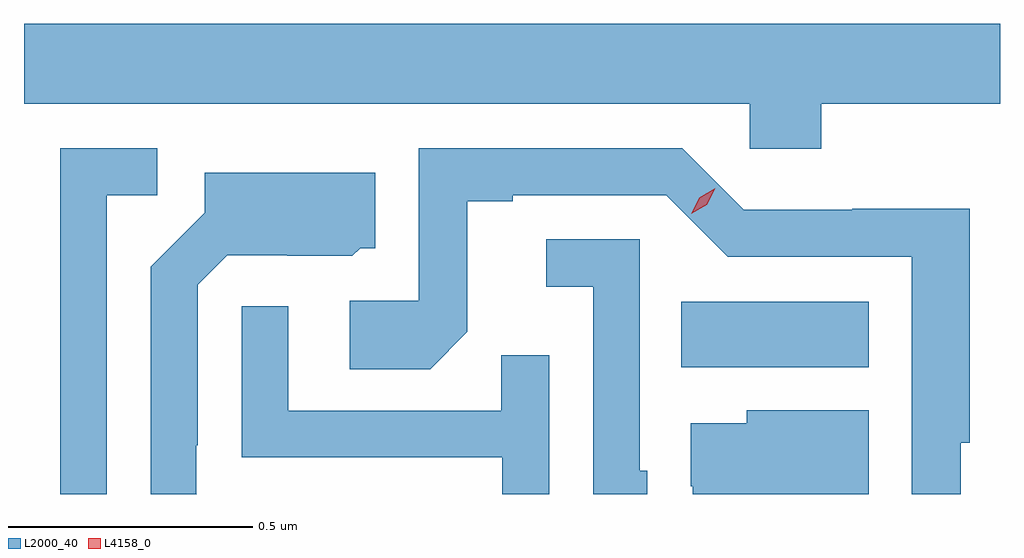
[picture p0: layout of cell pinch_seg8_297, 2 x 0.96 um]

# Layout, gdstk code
import gdstk
lib = gdstk.Library(unit=1e-6, precision=1e-09)
def R(c, l, rs):  # rectangles x0, y0, x1, y1
    for r in rs: c.add(gdstk.rectangle(r[:2], r[2:], *l))
def P(c, l, *ps):  # polygons
    for p in ps: c.add(gdstk.Polygon(p, *l))
L2000_40 = (2000, 40)
L4158_0 = (4158, 0)

pinch_seg8_297 = lib.new_cell('pinch_seg8_297')
R(pinch_seg8_297, L2000_40, [(523.87,1154.588,524.254,1154.722)])
P(pinch_seg8_297, L2000_40, [(524.157,1155.128),(524.523,1155.128),(524.523,1155.292),(522.523,1155.292),(522.523,1155.128),(524.01,1155.128),(524.01,1155.035),(524.157,1155.035)],
  [(522.693,1154.94),(522.796,1154.94),(522.796,1155.036),(522.597,1155.036),(522.597,1154.327),(522.693,1154.327)],
  [(524.443,1154.433),(524.461,1154.433),(524.461,1154.912),(524.22,1154.912),(524.22,1154.91),(523.998,1154.91),(523.872,1155.036),(523.332,1155.036),(523.332,1154.724),(523.191,1154.724),(523.191,1154.584),(523.355,1154.584),(523.431,1154.66),(523.431,1154.928),(523.525,1154.928),(523.525,1154.94),(523.839,1154.94),(523.965,1154.814),(524.342,1154.814),(524.342,1154.327),(524.443,1154.327)],
  [(522.876,1154.328),(522.876,1154.428),(522.879,1154.428),(522.879,1154.757),(522.939,1154.817),(523.062,1154.817),(523.062,1154.816),(523.196,1154.816),(523.212,1154.832),(523.243,1154.832),(523.243,1154.986),(522.893,1154.986),(522.893,1154.904),(522.783,1154.794),(522.783,1154.327),(522.877,1154.327)],
  [(523.8,1154.376),(523.785,1154.376),(523.785,1154.85),(523.593,1154.85),(523.593,1154.753),(523.689,1154.753),(523.689,1154.327),(523.8,1154.327)],
  [(523.599,1154.612),(523.501,1154.612),(523.501,1154.499),(523.065,1154.499),(523.065,1154.713),(522.969,1154.713),(522.969,1154.403),(523.503,1154.403),(523.503,1154.327),(523.599,1154.327)],
  [(524.254,1154.5),(524.004,1154.5),(524.004,1154.473),(523.889,1154.473),(523.889,1154.344),(523.893,1154.344),(523.893,1154.327),(524.254,1154.327)])
P(pinch_seg8_297, L4158_0, [(523.89,1154.902),(523.89,1154.902),(523.907,1154.935),(523.939,1154.954),(523.939,1154.954),(523.939,1154.954),(523.922,1154.921),(523.89,1154.902)])

lib.write_gds('pinch_seg8_297.gds')
